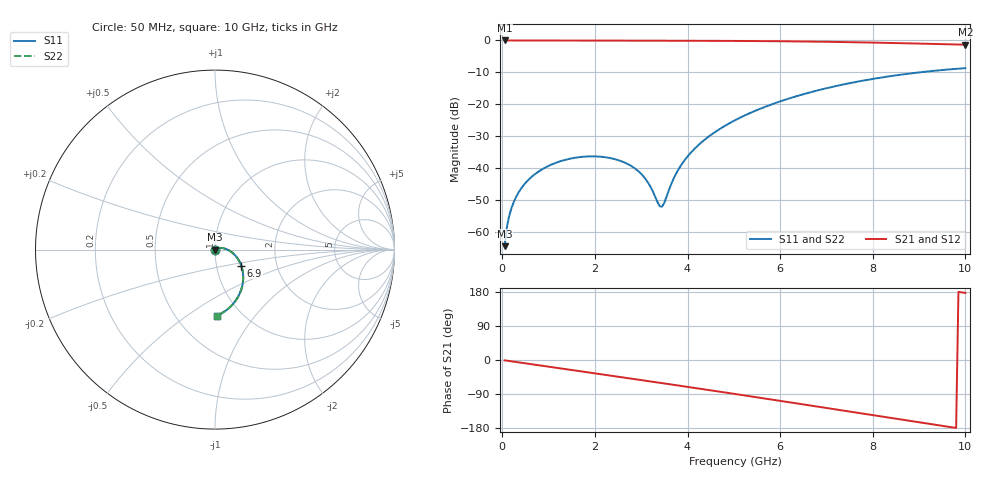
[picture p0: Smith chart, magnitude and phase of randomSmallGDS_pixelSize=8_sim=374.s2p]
! freq	dB(S11)	phase(S11)	dB(S12)	phase(S12)
!  dB(S21)	phase(S21)	dB(S22)	phase(S22)
!S-par simulation data
#  GHz  S  DB  R 50
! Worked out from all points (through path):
!   200 points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, 50 MHz to 10 GHz, reference 50 ohm
!   highest |S21| = 0.00 dB at 50 MHz (marker M1); lowest = -1.3 dB at 10 GHz (marker M2)
!   group delay of S21, straight-line fit = 51 ps
!   lowest |S11| = -64.4 dB at 50 MHz (marker M3), VSWR 1.00, Z = 50 - j0.06 ohm
!   |S11| at or under -10 dB: start of sweep to 9.005 GHz
!   |S22| runs from -64.4 to -8.7 dB; largest |S21 - S12| = 0
!   S11 on the Smith chart (normalised r, x): 50 MHz: 1.00, -0.00; 6.9 GHz: 1.32, -0.24; 10 GHz: 0.77, -0.66
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0.05  -64.43 -88.0  -0.00 -0.9  -0.00 -0.9  -64.43 -88.0
0.1  -58.42 -90.4  -0.00 -1.8  -0.00 -1.8  -58.42 -90.4
0.2  -52.43 -93.1  -0.00 -3.6  -0.00 -3.6  -52.43 -93.1
0.35  -47.64 -96.3  -0.01 -6.2  -0.01 -6.2  -47.64 -96.3
0.5  -44.65 -99.3  -0.01 -8.9  -0.01 -8.9  -44.65 -99.3
1.05  -38.94 -110.1  -0.02 -18.5  -0.02 -18.5  -38.94 -110.1
1.75  -36.42 -124.0  -0.04 -30.8  -0.04 -30.8  -36.42 -124.0
2.35  -36.89 -136.9  -0.05 -41.4  -0.05 -41.4  -36.90 -136.8
2.8  -39.46 -149.0  -0.06 -49.4  -0.06 -49.4  -39.47 -148.8
3.1  -43.52 -162.9  -0.06 -54.7  -0.06 -54.7  -43.55 -162.5
3.4  -51.91 137.1  -0.07 -60.1  -0.07 -60.1  -52.11 137.4
3.45  -52.07 112.1  -0.07 -61.0  -0.07 -61.0  -52.28 111.8
3.75  -41.81 43.5  -0.08 -66.4  -0.08 -66.4  -41.83 43.1
4.05  -35.49 29.0  -0.09 -71.8  -0.09 -71.8  -35.50 28.8
4.5  -29.64 16.7  -0.11 -80.0  -0.11 -80.0  -29.64 16.5
5.05  -24.81 4.7  -0.15 -90.1  -0.15 -90.1  -24.81 4.6
5.8  -20.11 -10.3  -0.22 -104.1  -0.22 -104.1  -20.11 -10.3
6.7  -16.05 -27.7  -0.36 -121.0  -0.36 -121.0  -16.05 -27.7
6.9  -15.31 -31.5  -0.39 -124.8  -0.39 -124.8  -15.31 -31.5
8.35  -11.25 -58.8  -0.77 -152.3  -0.77 -152.3  -11.25 -58.8
9.15  -9.77 -73.4  -1.03 -167.3  -1.03 -167.3  -9.77 -73.4
10  -8.67 -88.5  -1.33 177.0  -1.33 177.0  -8.67 -88.5
